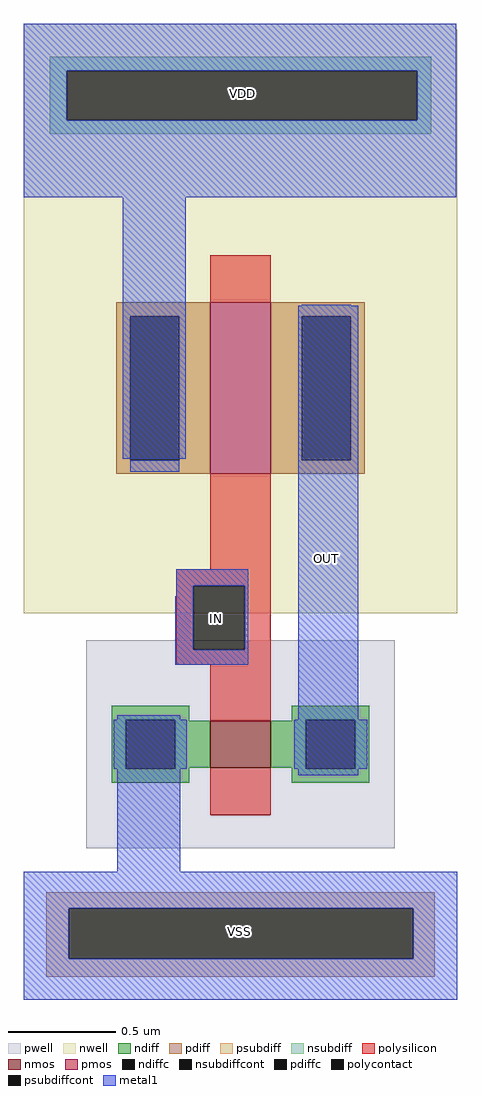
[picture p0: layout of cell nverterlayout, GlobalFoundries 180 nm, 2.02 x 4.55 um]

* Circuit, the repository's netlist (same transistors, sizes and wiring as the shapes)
* NGSPICE file created from nverterlayout.ext - technology: gf180mcuC

.subckt pmos_3p3_MQGBLR a_n28_n124# a_n116_n80# a_28_n80# w_n202_n210#
X0 a_28_n80# a_n28_n124# a_n116_n80# w_n202_n210# pfet_03v3 ad=0.352p pd=2.48u as=0.352p ps=2.48u w=0.8u l=0.28u
.ends

.subckt nmos_3p3_DDNVWA a_n120_n36# a_28_n22# a_n28_n66# VSUBS
X0 a_28_n22# a_n28_n66# a_n120_n36# VSUBS nfet_03v3 ad=0.152p pd=1.64u as=0.152p ps=1.64u w=0.22u l=0.28u
.ends

.subckt nverterlayout VDD VSS OUT IN
Xpmos_3p3_MQGBLR_0 IN VDD OUT VDD pmos_3p3_MQGBLR
Xnmos_3p3_DDNVWA_0 VSS OUT IN VSS nmos_3p3_DDNVWA
.ends

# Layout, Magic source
magic
tech gf180mcuC
magscale 1 10
<< nwell >>
rect -88 1124 315 1130
rect -88 1000 316 1124
rect -88 968 315 1000
rect 4 724 63 960
rect 64 612 121 621
<< pwell >>
rect 64 534 121 540
rect 54 532 121 534
<< psubdiff >>
rect -67 305 295 320
rect -67 258 -46 305
rect 275 258 295 305
rect -67 241 295 258
<< nsubdiff >>
rect -64 1086 292 1099
rect -64 1040 -48 1086
rect 279 1040 292 1086
rect -64 1027 292 1040
<< psubdiffcont >>
rect -46 258 275 305
<< nsubdiffcont >>
rect -48 1040 279 1086
<< polysilicon >>
rect 86 621 142 672
rect 54 606 142 621
rect 54 546 70 606
rect 118 546 142 606
rect 54 532 142 546
rect 86 524 142 532
<< polycontact >>
rect 70 546 118 606
<< metal1 >>
rect -88 1086 315 1130
rect -88 1040 -48 1086
rect 279 1040 315 1086
rect -88 968 315 1040
rect 4 724 63 968
rect 54 606 121 621
rect 54 596 70 606
rect 53 546 70 596
rect 118 546 121 606
rect 53 532 121 546
rect -1 339 58 485
rect 168 429 224 867
rect -88 305 316 339
rect -88 258 -46 305
rect 275 258 316 305
rect -88 220 316 258
use nmos_3p3_DDNVWA  nmos_3p3_DDNVWA_0
transform 1 0 114 0 1 458
box -144 -97 144 97
use pmos_3p3_MQGBLR  pmos_3p3_MQGBLR_0
transform 1 0 114 0 1 790
box -202 -210 202 210
<< labels >>
flabel nsubdiffcont 116 1065 116 1065 0 FreeSans 480 0 0 0 VDD
port 0 nsew
flabel psubdiffcont 113 283 113 283 0 FreeSans 480 0 0 0 VSS
port 1 nsew
flabel metal1 194 631 194 631 0 FreeSans 480 0 0 0 OUT
port 2 nsew
flabel polycontact 92 575 92 575 0 FreeSans 480 0 0 0 IN
port 3 nsew
<< end >>

# cell nmos_3p3_DDNVWA: kit device nmos_3p3, w 0.220 l 0.280 m 1 nf 1 diffcov 100 polycov 100 guard 0 glc 0 grc 0 gtc 0 gbc 0 tbcov 100 rlcov 100 topc 0 botc 0 poverlap 0 doverlap 1 lmin 0.28 wmin 0.22 full_metal 0 compatible {nmos_3p3 nmos_6p0 nmos_6p0_nat}

# cell pmos_3p3_MQGBLR: kit device pmos_3p3, w 0.8 l 0.280 m 1 nf 1 diffcov 100 polycov 100 guard 0 glc 0 grc 0 gtc 0 gbc 0 tbcov 100 rlcov 100 topc 0 botc 0 poverlap 0 doverlap 1 lmin 0.28 wmin 0.22 full_metal 0 compatible {pmos_3p3 pmos_6p0}
